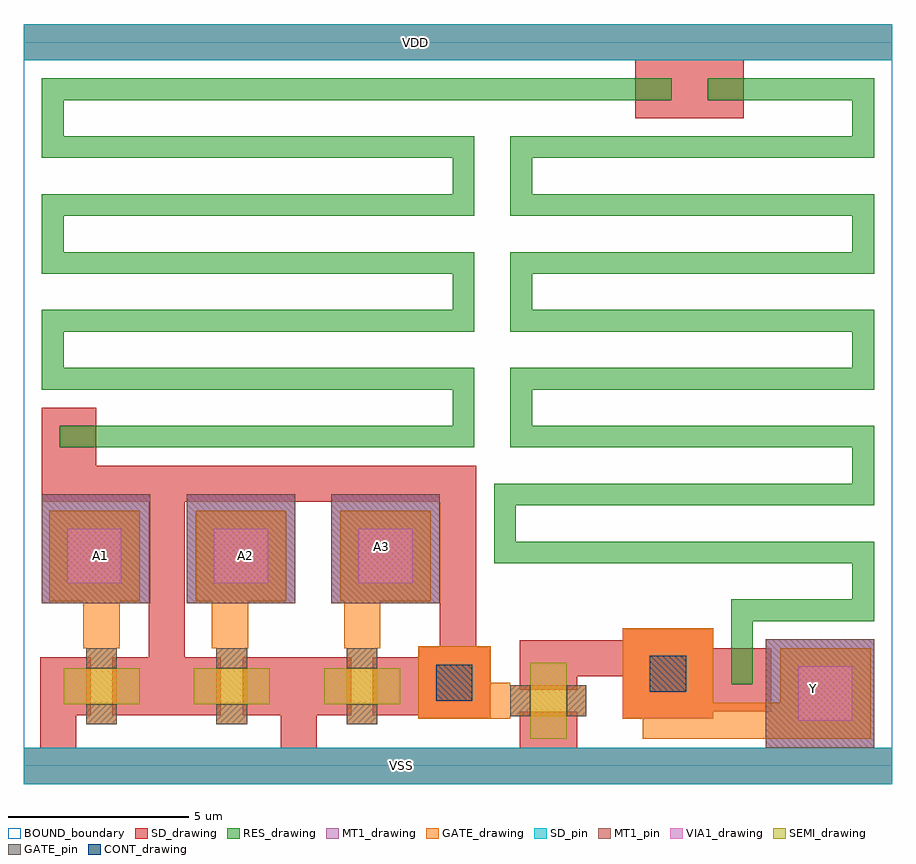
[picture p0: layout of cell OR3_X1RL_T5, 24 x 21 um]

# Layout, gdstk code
from math import pi, radians
import gdstk
lib = gdstk.Library(unit=1e-6, precision=1e-09)
def R(c, l, rs):  # rectangles x0, y0, x1, y1
    for r in rs: c.add(gdstk.rectangle(r[:2], r[2:], *l))
def A(c, l, x, y, w, h, nx, ny, dx, dy):  # array of equal rectangles
    R(c, l, [(x+i*dx, y+j*dy, x+i*dx+w, y+j*dy+h) for i in range(nx) for j in range(ny)])
def P(c, l, *ps):  # polygons
    for p in ps: c.add(gdstk.Polygon(p, *l))
RES_drawing = (1, 0)
SEMI_drawing = (3, 0)
SD_drawing = (10, 0)
SD_pin = (10, 3)
GATE_drawing = (11, 0)
GATE_pin = (11, 3)
MT1_drawing = (20, 0)
MT1_pin = (20, 3)
CONT_drawing = (30, 0)
VIA1_drawing = (41, 0)
BOUND_boundary = (150, 5)

nch_cdns_772545129380 = lib.new_cell('nch_CDNS_772545129380')
R(nch_cdns_772545129380, SEMI_drawing, [(-1.05,-0.5,1.05,0.5)])
R(nch_cdns_772545129380, SD_drawing, [(-1.3,-0.8,-0.3,0.8), (0.3,-0.8,1.3,0.8)])
R(nch_cdns_772545129380, GATE_drawing, [(-0.425,-1.05,0.425,1.05)])
R(nch_cdns_772545129380, GATE_pin, [(-0.425,-1.05,0.425,-0.5), (-0.425,0.5,0.425,1.05)])

sd_gate_cdns_77254512938 = lib.new_cell('SD_GATE_CDNS_772545129380')
R(sd_gate_cdns_77254512938, SD_drawing, [(-1,-1,1,1)])
R(sd_gate_cdns_77254512938, GATE_drawing, [(-1,-1,1,1)])
R(sd_gate_cdns_77254512938, CONT_drawing, [(-0.5,-0.5,0.5,0.5)])

c_sd_gate_cdns_77254512938 = lib.new_cell('SD_GATE_CDNS_772545129381')
R(c_sd_gate_cdns_77254512938, SD_drawing, [(-1.25,-1.25,1.25,1.25)])
R(c_sd_gate_cdns_77254512938, GATE_drawing, [(-1.25,-1.25,1.25,1.25)])
R(c_sd_gate_cdns_77254512938, CONT_drawing, [(-0.5,-0.5,0.5,0.5)])

gate_mt1_stack_cdns_7725 = lib.new_cell('GATE_MT1_STACK_CDNS_772545129382')
R(gate_mt1_stack_cdns_7725, GATE_drawing, [(-1.25,-1.25,1.25,1.25)])
R(gate_mt1_stack_cdns_7725, MT1_drawing, [(-1.25,-1.25,1.25,1.25)])
R(gate_mt1_stack_cdns_7725, VIA1_drawing, [(-0.75,-0.75,0.75,0.75)])

or3_x1rl_t5 = lib.new_cell('OR3_X1RL_T5')
R(or3_x1rl_t5, SD_drawing, [(0,-0.5,24,0.5), (0.45,0.5,1.45,3), (7.1,0.5,8.1,2.8), (19.05,1.5,20.65,3.25), (0.5,7.8,2,9.9), (16.9,17.9,19.9,19.5), (0,19.5,24,20.5)])
R(or3_x1rl_t5, SD_pin, [(0,-0.5,24,0.5), (0,19.5,24,20.5)])
P(or3_x1rl_t5, GATE_drawing, [(2.65,3.35),(1.65,3.35),(1.65,3.25),(1.775,3.25),(1.775,3.2),(2.525,3.2),(2.525,3.25),(2.65,3.25)],
  [(13.35,1.3),(13.35,2.3),(13.45,2.3),(13.45,2.175),(13.5,2.175),(13.5,1.425),(13.45,1.425),(13.45,1.3)],
  [(6.2,3.35),(5.2,3.35),(5.2,3.25),(5.375,3.25),(5.375,3.2),(6.125,3.2),(6.125,3.25),(6.2,3.25)],
  [(8.85,3.35),(9.85,3.35),(9.85,3.25),(9.725,3.25),(9.725,3.2),(8.975,3.2),(8.975,3.25),(8.85,3.25)])
A(or3_x1rl_t5, MT1_drawing, 0.5, 4.5, 3, 3, 3, 1, 4, 0)
R(or3_x1rl_t5, MT1_drawing, [(20.5,0.5,23.5,3.5)])
A(or3_x1rl_t5, MT1_pin, 0.5, 4.5, 3, 3, 3, 1, 4, 0)
R(or3_x1rl_t5, MT1_pin, [(20.5,0.5,23.5,3.5)])
R(or3_x1rl_t5, BOUND_boundary, [(0,0,24,20)])
or3_x1rl_t5.add(gdstk.FlexPath([(12,2.2),(12,1.5)], 1, ends=(0.8, 0), simple_path=True, layer=10, datatype=0))  # SD_drawing
or3_x1rl_t5.add(gdstk.FlexPath([(0.5,7.8),(3.95,7.8)], 1, ends=(0, 0.5), simple_path=True, layer=10, datatype=0))  # SD_drawing
or3_x1rl_t5.add(gdstk.FlexPath([(3.95,1.4),(3.95,7.8)], 1, ends=(0, 0.5), simple_path=True, layer=10, datatype=0))  # SD_drawing
or3_x1rl_t5.add(gdstk.FlexPath([(3.95,7.8),(12,7.8)], 1, ends="extended", simple_path=True, layer=10, datatype=0))  # SD_drawing
or3_x1rl_t5.add(gdstk.FlexPath([(17.55,2.975),(14.2,2.975)], 1, ends=(0, 0.5), simple_path=True, layer=10, datatype=0))  # SD_drawing
or3_x1rl_t5.add(gdstk.FlexPath([(12,7.8),(12,2.2)], 1, ends=(0.5, 0.8), simple_path=True, layer=10, datatype=0))  # SD_drawing
or3_x1rl_t5.add(gdstk.FlexPath([(12,2.2),(12.45,2.2)], 1.6, ends=(0.5, 0), simple_path=True, layer=10, datatype=0))  # SD_drawing
or3_x1rl_t5.add(gdstk.FlexPath([(10.325,2.2),(12,2.2)], 1.6, ends=(0, 0.5), simple_path=True, layer=10, datatype=0))  # SD_drawing
or3_x1rl_t5.add(gdstk.FlexPath([(8.3,2.2),(7.05,2.2)], 1.6, ends="flush", simple_path=True, layer=10, datatype=0))  # SD_drawing
or3_x1rl_t5.add(gdstk.FlexPath([(17.6,1.25),(17.6,3.4)], 1, ends=(0.5, 0), simple_path=True, layer=11, datatype=0))  # GATE_drawing
or3_x1rl_t5.add(gdstk.FlexPath([(22.65,1.25),(17.6,1.25)], 1, ends="extended", simple_path=True, layer=11, datatype=0))  # GATE_drawing
or3_x1rl_t5.add(gdstk.FlexPath([(2.15,3.35),(2.15,4.9)], 1, ends="flush", simple_path=True, layer=11, datatype=0))  # GATE_drawing
or3_x1rl_t5.add(gdstk.FlexPath([(13.35,1.8),(12.75,1.8)], 1, ends="flush", simple_path=True, layer=11, datatype=0))  # GATE_drawing
or3_x1rl_t5.add(gdstk.FlexPath([(9.35,3.35),(9.35,4.95)], 1, ends="flush", simple_path=True, layer=11, datatype=0))  # GATE_drawing
or3_x1rl_t5.add(gdstk.FlexPath([(5.7,3.35),(5.7,4.9)], 1, ends="flush", simple_path=True, layer=11, datatype=0))  # GATE_drawing
or3_x1rl_t5.add(gdstk.FlexPath([(19.85,2.25),(19.85,4.3),(23.2,4.3),(23.2,5.9),(13.3,5.9),(13.3,7.5),(23.2,7.5),(23.2,9.1),(13.75,9.1),(13.75,10.7),(23.2,10.7),(23.2,12.3),(13.75,12.3),(13.75,13.9),(23.2,13.9),(23.2,15.5),(13.75,15.5),(13.75,17.1),(23.2,17.1),(23.2,18.7),(18.9,18.7)], 0.6, ends="flush", simple_path=True, layer=1, datatype=0))  # RES_drawing
or3_x1rl_t5.add(gdstk.FlexPath([(1,9.1),(12.15,9.1),(12.15,10.7),(0.8,10.7),(0.8,12.3),(12.15,12.3),(12.15,13.9),(0.8,13.9),(0.8,15.5),(12.15,15.5),(12.15,17.1),(0.8,17.1),(0.8,18.7),(17.9,18.7)], 0.6, ends="flush", simple_path=True, layer=1, datatype=0))  # RES_drawing
or3_x1rl_t5.add(gdstk.Reference(nch_cdns_772545129380, (14.5,1.8), rotation=pi/2))
or3_x1rl_t5.add(gdstk.Reference(nch_cdns_772545129380, (9.35,2.2), x_reflection=True))
or3_x1rl_t5.add(gdstk.Reference(nch_cdns_772545129380, (5.75,2.2)))
or3_x1rl_t5.add(gdstk.Reference(nch_cdns_772545129380, (2.15,2.2)))
or3_x1rl_t5.add(gdstk.Reference(sd_gate_cdns_77254512938, (11.9,2.3)))
or3_x1rl_t5.add(gdstk.Reference(c_sd_gate_cdns_77254512938, (17.8,2.55)))
or3_x1rl_t5.add(gdstk.Reference(gate_mt1_stack_cdns_7725, (22.15,2)))
or3_x1rl_t5.add(gdstk.Reference(gate_mt1_stack_cdns_7725, (1.95,5.8)))
or3_x1rl_t5.add(gdstk.Reference(gate_mt1_stack_cdns_7725, (6,5.8)))
or3_x1rl_t5.add(gdstk.Reference(gate_mt1_stack_cdns_7725, (10,5.8)))
or3_x1rl_t5.add(gdstk.Label('A1', (2.125,5.825), layer=20, texttype=3))
or3_x1rl_t5.add(gdstk.Label('Y', (21.825,2.15), layer=20, texttype=3))
or3_x1rl_t5.add(gdstk.Label('A3', (9.875,6.05), layer=20, texttype=3))
or3_x1rl_t5.add(gdstk.Label('A2', (6.125,5.825), layer=20, texttype=3))
or3_x1rl_t5.add(gdstk.Label('VDD', (10.825,20), layer=10, texttype=3))
or3_x1rl_t5.add(gdstk.Label('VSS', (10.425,0), layer=10, texttype=3))

lib.write_gds('OR3_X1RL_T5.gds')
